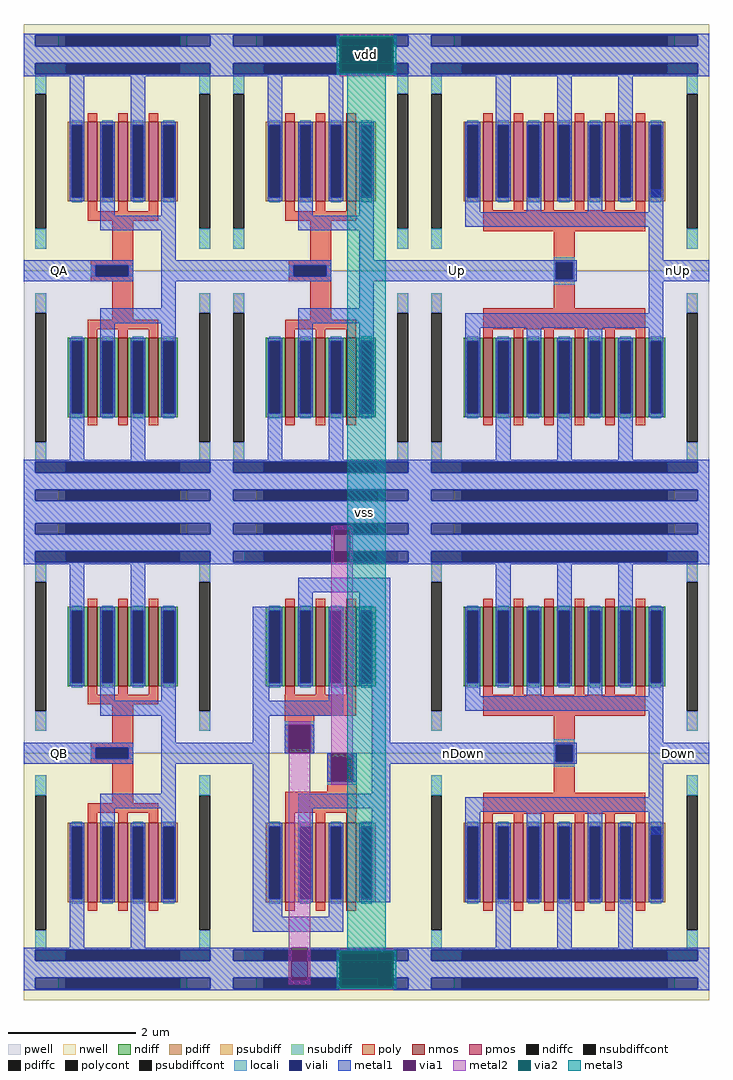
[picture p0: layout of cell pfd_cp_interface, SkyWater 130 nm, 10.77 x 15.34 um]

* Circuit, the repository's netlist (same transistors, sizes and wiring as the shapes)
**.subckt pfd_cp_interface vdd vss QA QB nDown Down nUp Up
*.iopin vdd
*.iopin vss
*.ipin QA
*.ipin QB
*.opin nDown
*.opin Down
*.opin nUp
*.opin Up
x5 vdd nDown nQB vss trans_gate
x3 vdd Up nQA vss inverter_cp_x1
x1 vdd nQB QB vss inverter_cp_x1
x2 vdd nQA QA vss inverter_cp_x1
x4 vdd nUp Up vss inverter_cp_x2
x6 vdd Down nDown vss inverter_cp_x2
**.ends

* expanding   symbol:  trans_gate.sym # of pins=4
* sym_path: /home/dhernando/caravel_analog_fulgor/xschem/trans_gate.sym
* sch_path: /home/dhernando/caravel_analog_fulgor/xschem/trans_gate.sch
.subckt trans_gate  vdd out in vss
*.iopin vss
*.ipin in
*.opin out
*.iopin vdd
XM2 out vss in vdd sky130_fd_pr__pfet_01v8 L=0.15 W=1.25 nf=1 ad='int((nf+1)/2) * W/nf * 0.29' as='int((nf+2)/2) * W/nf * 0.29'
+ pd='2*int((nf+1)/2) * (W/nf + 0.29)' ps='2*int((nf+2)/2) * (W/nf + 0.29)' nrd='0.29 / W' nrs='0.29 / W'
+ sa=0 sb=0 sd=0 mult=3 m=3 
XM1 out vdd in vss sky130_fd_pr__nfet_01v8 L=0.15 W=1.25 nf=1 ad='int((nf+1)/2) * W/nf * 0.29' as='int((nf+2)/2) * W/nf * 0.29'
+ pd='2*int((nf+1)/2) * (W/nf + 0.29)' ps='2*int((nf+2)/2) * (W/nf + 0.29)' nrd='0.29 / W' nrs='0.29 / W'
+ sa=0 sb=0 sd=0 mult=3 m=3 
.ends


* expanding   symbol:  inverter_cp_x1.sym # of pins=4
* sym_path: /home/dhernando/caravel_analog_fulgor/xschem/inverter_cp_x1.sym
* sch_path: /home/dhernando/caravel_analog_fulgor/xschem/inverter_cp_x1.sch
.subckt inverter_cp_x1  vdd out in vss
*.iopin vss
*.ipin in
*.opin out
*.iopin vdd
XM2 out in vdd vdd sky130_fd_pr__pfet_01v8 L=0.15 W=1.25 nf=1 ad='int((nf+1)/2) * W/nf * 0.29' as='int((nf+2)/2) * W/nf * 0.29'
+ pd='2*int((nf+1)/2) * (W/nf + 0.29)' ps='2*int((nf+2)/2) * (W/nf + 0.29)' nrd='0.29 / W' nrs='0.29 / W'
+ sa=0 sb=0 sd=0 mult=3 m=3 
XM1 out in vss vss sky130_fd_pr__nfet_01v8 L=0.15 W=1.25 nf=1 ad='int((nf+1)/2) * W/nf * 0.29' as='int((nf+2)/2) * W/nf * 0.29'
+ pd='2*int((nf+1)/2) * (W/nf + 0.29)' ps='2*int((nf+2)/2) * (W/nf + 0.29)' nrd='0.29 / W' nrs='0.29 / W'
+ sa=0 sb=0 sd=0 mult=3 m=3 
.ends


* expanding   symbol:  inverter_cp_x2.sym # of pins=4
* sym_path: /home/dhernando/caravel_analog_fulgor/xschem/inverter_cp_x2.sym
* sch_path: /home/dhernando/caravel_analog_fulgor/xschem/inverter_cp_x2.sch
.subckt inverter_cp_x2  vdd out in vss
*.iopin vss
*.ipin in
*.opin out
*.iopin vdd
XM2 out in vdd vdd sky130_fd_pr__pfet_01v8 L=0.15 W=1.25 nf=1 ad='int((nf+1)/2) * W/nf * 0.29' as='int((nf+2)/2) * W/nf * 0.29'
+ pd='2*int((nf+1)/2) * (W/nf + 0.29)' ps='2*int((nf+2)/2) * (W/nf + 0.29)' nrd='0.29 / W' nrs='0.29 / W'
+ sa=0 sb=0 sd=0 mult=6 m=6 
XM1 out in vss vss sky130_fd_pr__nfet_01v8 L=0.15 W=1.25 nf=1 ad='int((nf+1)/2) * W/nf * 0.29' as='int((nf+2)/2) * W/nf * 0.29'
+ pd='2*int((nf+1)/2) * (W/nf + 0.29)' ps='2*int((nf+2)/2) * (W/nf + 0.29)' nrd='0.29 / W' nrs='0.29 / W'
+ sa=0 sb=0 sd=0 mult=6 m=6 
.ends

** flattened .save nodes
.end

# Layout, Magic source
magic
tech sky130A
magscale 1 2
<< metal1 >>
rect 983 2998 993 3026
rect 0 2944 993 2998
rect 983 2914 993 2944
rect 1161 2998 1171 3026
rect 1161 2944 2154 2998
rect 1161 2914 1171 2944
rect 0 2259 226 2325
rect 442 2259 832 2325
rect 1054 2259 1672 2325
rect 1964 2259 2154 2325
rect 0 1564 2143 1570
rect 0 1504 2154 1564
rect 0 1498 2143 1504
rect 0 743 226 809
rect 478 742 720 809
rect 1094 743 1672 809
rect 1964 743 2154 809
rect 983 124 993 152
rect 0 108 993 124
rect 0 70 979 108
rect 983 40 993 108
rect 1161 124 1171 152
rect 1161 108 2154 124
rect 1161 40 1171 108
rect 1176 70 2154 108
<< via1 >>
rect 993 2914 1161 3026
rect 993 40 1161 152
<< metal2 >>
rect 993 3026 1161 3036
rect 993 2904 1161 2914
rect 993 152 1161 162
rect 993 30 1161 40
<< via2 >>
rect 993 2914 1161 3026
rect 993 40 1161 152
<< metal3 >>
rect 983 3026 1171 3031
rect 983 2914 993 3026
rect 1161 2914 1171 3026
rect 983 2909 1171 2914
rect 1017 157 1137 2909
rect 983 152 1171 157
rect 983 40 993 152
rect 1161 40 1171 152
rect 983 35 1171 40
use trans_gate  trans_gate_0
transform 1 0 675 0 -1 723
box -53 -811 569 723
use inverter_cp_x1  inverter_cp_x1_1
transform 1 0 0 0 1 2292
box 0 -758 622 776
use inverter_cp_x1  inverter_cp_x1_2
transform 1 0 622 0 1 2292
box 0 -758 622 776
use inverter_cp_x1  inverter_cp_x1_0
transform 1 0 0 0 -1 776
box 0 -758 622 776
use inverter_cp_x2  inverter_cp_x2_1
transform 1 0 1244 0 1 2292
box 0 -758 910 776
use inverter_cp_x2  inverter_cp_x2_0
transform 1 0 1244 0 -1 776
box 0 -758 910 776
<< labels >>
rlabel metal1 0 1498 2143 1570 1 vss
rlabel metal1 0 2259 226 2325 1 QA
rlabel metal1 0 743 226 809 1 QB
rlabel metal1 1054 2259 1672 2325 1 Up
rlabel metal1 1094 743 1672 809 1 nDown
rlabel metal1 1964 743 2154 809 1 Down
rlabel metal1 1964 2259 2154 2325 1 nUp
rlabel metal1 0 2944 2154 2998 1 vdd
<< end >>

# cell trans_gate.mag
magic
tech sky130A
magscale 1 2
<< nwell >>
rect -53 635 569 723
rect -53 -53 569 -47
<< pwell >>
rect -53 -64 569 -53
rect -53 -811 569 -723
<< psubdiff >>
rect 55 -775 79 -741
rect 437 -775 461 -741
<< nsubdiff >>
rect 55 653 79 687
rect 437 653 461 687
<< psubdiffcont >>
rect 79 -775 437 -741
<< nsubdiffcont >>
rect 79 653 437 687
<< poly >>
rect 147 69 371 135
rect 279 31 371 69
rect 279 -37 291 31
rect 359 -37 371 31
rect 279 -53 371 -37
rect 145 -69 237 -53
rect 145 -137 157 -69
rect 225 -137 237 -69
rect 145 -171 237 -137
rect 145 -237 369 -171
<< polycont >>
rect 291 -37 359 31
rect 157 -137 225 -69
<< locali >>
rect 279 31 371 47
rect 279 -37 291 31
rect 359 -37 371 31
rect 279 -53 371 -37
rect 145 -69 237 -53
rect 145 -137 157 -69
rect 225 -137 237 -69
rect 145 -153 237 -137
<< viali >>
rect -17 653 79 687
rect 79 653 437 687
rect 437 653 533 687
rect -17 565 533 599
rect 291 -37 359 31
rect 157 -137 225 -69
rect -17 -687 533 -653
rect -17 -775 79 -741
rect 79 -775 437 -741
rect 437 -775 533 -741
<< metal1 >>
rect -53 687 569 693
rect -53 653 -17 687
rect 533 653 569 687
rect -53 599 165 653
rect 217 599 569 653
rect -53 565 -17 599
rect 533 565 569 599
rect -53 559 165 565
rect 217 559 569 565
rect 45 462 329 508
rect 45 404 137 462
rect 283 404 329 462
rect 45 -171 97 404
rect 425 183 477 416
rect 187 120 233 178
rect 419 120 477 183
rect 187 74 477 120
rect 279 -53 291 37
rect 359 -53 371 37
rect 145 -143 157 -53
rect 225 -143 237 -53
rect 45 -217 329 -171
rect 45 -341 97 -217
rect 283 -263 329 -217
rect 45 -513 91 -341
rect 419 -343 477 74
rect 425 -455 477 -343
rect 419 -501 477 -455
rect 187 -559 233 -513
rect 379 -559 477 -501
rect 187 -605 477 -559
rect -53 -653 569 -647
rect -53 -687 -17 -653
rect 533 -687 569 -653
rect -53 -741 299 -687
rect 351 -741 569 -687
rect -53 -775 -17 -741
rect 533 -775 569 -741
rect -53 -781 569 -775
<< via1 >>
rect 165 653 217 663
rect 165 599 217 653
rect 165 565 217 599
rect 165 559 217 565
rect 291 31 359 37
rect 291 -37 359 31
rect 291 -53 359 -37
rect 157 -69 225 -53
rect 157 -137 225 -69
rect 157 -143 225 -137
rect 299 -687 351 -653
rect 299 -741 351 -687
rect 299 -757 351 -741
<< metal2 >>
rect 157 663 225 673
rect 157 559 165 663
rect 217 559 225 663
rect 157 -53 225 559
rect 157 -153 225 -143
rect 291 37 359 47
rect 291 -653 359 -53
rect 291 -757 299 -653
rect 351 -757 359 -653
rect 291 -766 359 -757
rect 299 -767 351 -766
use sky130_fd_pr__pfet_01v8_4798MH  sky130_fd_pr__pfet_01v8_4798MH_0
transform 1 0 258 0 1 291
box -311 -338 311 344
use sky130_fd_pr__nfet_01v8_BHR94T  sky130_fd_pr__nfet_01v8_BHR94T_0
transform 1 0 258 0 1 -388
box -311 -335 311 324
<< labels >>
rlabel metal1 217 599 569 653 1 vdd
rlabel metal1 -53 -741 299 -687 1 vss
rlabel space 419 -605 477 416 1 out
rlabel space 45 -513 97 508 1 in
<< end >>

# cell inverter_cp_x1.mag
magic
tech sky130A
magscale 1 2
<< nwell >>
rect 0 688 622 776
<< pwell >>
rect 2 -669 622 -626
rect 0 -721 622 -669
rect 2 -722 622 -721
rect 0 -758 622 -722
<< psubdiff >>
rect 108 -722 132 -688
rect 490 -722 514 -688
<< nsubdiff >>
rect 108 706 132 740
rect 490 706 514 740
<< psubdiffcont >>
rect 132 -722 490 -688
<< nsubdiffcont >>
rect 132 706 490 740
<< poly >>
rect 278 33 344 188
rect 210 17 344 33
rect 210 -17 226 17
rect 328 -17 344 17
rect 210 -33 344 -17
rect 278 -184 344 -33
<< polycont >>
rect 226 -17 328 17
<< locali >>
rect 210 -17 226 17
rect 328 -17 344 17
<< viali >>
rect 36 706 132 740
rect 132 706 490 740
rect 490 706 586 740
rect 36 618 586 652
rect 226 -17 328 17
rect 36 -634 586 -600
rect 36 -722 132 -688
rect 132 -722 490 -688
rect 490 -722 586 -688
<< metal1 >>
rect 0 740 622 746
rect 0 706 36 740
rect 586 706 622 740
rect 0 652 622 706
rect 0 618 36 652
rect 586 618 622 652
rect 0 612 622 618
rect 144 469 190 612
rect 336 469 382 612
rect 240 173 286 231
rect 432 173 478 222
rect 240 127 478 173
rect 210 17 344 33
rect 210 -17 226 17
rect 328 -17 344 17
rect 210 -33 344 -17
rect 432 -118 478 127
rect 240 -164 478 -118
rect 240 -210 286 -164
rect 432 -210 478 -164
rect 144 -594 190 -455
rect 336 -594 382 -451
rect 0 -600 622 -594
rect 0 -634 36 -600
rect 586 -634 622 -600
rect 0 -688 622 -634
rect 0 -722 36 -688
rect 586 -722 622 -688
rect 0 -728 622 -722
use sky130_fd_pr__pfet_01v8_7KT7MH  sky130_fd_pr__pfet_01v8_7KT7MH_0
transform 1 0 311 0 1 344
box -311 -344 311 344
use sky130_fd_pr__nfet_01v8_2BS6QM  sky130_fd_pr__nfet_01v8_2BS6QM_0
transform 1 0 311 0 1 -335
box -311 -335 311 335
<< labels >>
rlabel metal1 0 652 622 706 1 vdd
rlabel metal1 0 -688 622 -634 1 vss
rlabel metal1 210 -33 226 33 1 in
rlabel metal1 432 -210 478 222 1 out
<< end >>

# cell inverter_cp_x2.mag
magic
tech sky130A
magscale 1 2
<< nwell >>
rect 0 0 910 776
<< pwell >>
rect 0 -758 910 0
<< psubdiff >>
rect 108 -722 132 -688
rect 778 -722 802 -688
<< nsubdiff >>
rect 108 706 132 740
rect 778 706 802 740
<< psubdiffcont >>
rect 132 -722 778 -688
<< nsubdiffcont >>
rect 132 706 778 740
<< poly >>
rect 200 124 710 190
rect 422 27 488 124
rect 422 -27 432 27
rect 478 -27 488 27
rect 422 -118 488 -27
rect 200 -184 710 -118
<< polycont >>
rect 432 -27 478 27
<< locali >>
rect 422 27 488 43
rect 422 -27 428 27
rect 482 -27 488 27
rect 422 -43 488 -27
<< viali >>
rect 36 706 132 740
rect 132 706 778 740
rect 778 706 874 740
rect 36 618 874 652
rect 428 -27 432 27
rect 432 -27 478 27
rect 478 -27 482 27
rect 36 -634 874 -600
rect 36 -722 132 -688
rect 132 -722 778 -688
rect 778 -722 874 -688
<< metal1 >>
rect 0 740 910 746
rect 0 706 36 740
rect 874 706 910 740
rect 0 652 910 706
rect 0 618 36 652
rect 874 618 910 652
rect 0 612 910 618
rect 240 469 286 612
rect 432 468 478 612
rect 624 468 670 612
rect 144 185 190 231
rect 336 185 382 227
rect 528 185 574 224
rect 720 185 766 256
rect 144 139 766 185
rect 720 33 766 139
rect 0 27 494 33
rect 0 -27 428 27
rect 482 -27 494 27
rect 0 -33 494 -27
rect 720 -33 910 33
rect 720 -133 766 -33
rect 144 -179 766 -133
rect 144 -210 190 -179
rect 336 -222 382 -179
rect 528 -222 574 -179
rect 720 -214 766 -179
rect 240 -594 286 -458
rect 432 -594 478 -453
rect 624 -594 670 -450
rect 0 -600 910 -594
rect 0 -634 36 -600
rect 874 -634 910 -600
rect 0 -688 910 -634
rect 0 -722 36 -688
rect 874 -722 910 -688
rect 0 -728 910 -722
use sky130_fd_pr__pfet_01v8_XJXT7S  sky130_fd_pr__pfet_01v8_XJXT7S_0
transform 1 0 455 0 1 344
box -455 -344 455 344
use sky130_fd_pr__nfet_01v8_AZESM8  sky130_fd_pr__nfet_01v8_AZESM8_0
transform 1 0 455 0 1 -335
box -455 -335 455 335
<< labels >>
rlabel metal1 0 -33 428 33 1 in
rlabel metal1 720 -33 910 33 1 out
rlabel metal1 0 -688 910 -634 1 vss
rlabel metal1 0 652 910 706 1 vdd
<< end >>

# cell sky130_fd_pr__pfet_01v8_XJXT7S: kit device sky130_fd_pr__pfet_01v8, w 1.25 l 0.15 m 1 nf 6 diffcov 100 polycov 100 guard 1 glc 1 grc 1 gtc 1 gbc 1 tbcov 100 rlcov 100 topc 1 botc 1 poverlap 0 doverlap 1 lmin 0.15 wmin 0.42 compatible {sky130_fd_pr__pfet_01v8 sky130_fd_pr__pfet_01v8_lvt sky130_fd_pr__pfet_01v8_hvt sky130_fd_pr__pfet_g5v0d10v5} full_metal 1 viasrc 100 viadrn 100 viagate 100 viagb 0 viagr 0 viagl 0 viagt 0

# cell sky130_fd_pr__nfet_01v8_AZESM8: kit device sky130_fd_pr__nfet_01v8, w 1.25 l 0.150 m 1 nf 6 diffcov 100 polycov 100 guard 1 glc 1 grc 1 gtc 1 gbc 1 tbcov 100 rlcov 100 topc 1 botc 1 poverlap 0 doverlap 1 lmin 0.15 wmin 0.42 compatible {sky130_fd_pr__nfet_01v8 sky130_fd_pr__nfet_01v8_lvt sky130_fd_bs_flash__special_sonosfet_star sky130_fd_pr__nfet_g5v0d10v5 sky130_fd_pr__nfet_05v0_nvt sky130_fd_pr__nfet_03v3_nvt} full_metal 1 viasrc 100 viadrn 100 viagate 100 viagb 0 viagr 0 viagl 0 viagt 0

# cell sky130_fd_pr__pfet_01v8_7KT7MH: kit device sky130_fd_pr__pfet_01v8, w 1.25 l 0.15 m 1 nf 3 diffcov 100 polycov 100 guard 1 glc 1 grc 1 gtc 1 gbc 0 tbcov 100 rlcov 100 topc 0 botc 1 poverlap 0 doverlap 1 lmin 0.15 wmin 0.42 compatible {sky130_fd_pr__pfet_01v8 sky130_fd_pr__pfet_01v8_lvt sky130_fd_pr__pfet_01v8_hvt sky130_fd_pr__pfet_g5v0d10v5} full_metal 1 viasrc 100 viadrn 100 viagate 100 viagb 0 viagr 0 viagl 0 viagt 0

# cell sky130_fd_pr__nfet_01v8_2BS6QM: kit device sky130_fd_pr__nfet_01v8, w 1.25 l 0.150 m 1 nf 3 diffcov 100 polycov 100 guard 1 glc 1 grc 1 gtc 0 gbc 1 tbcov 100 rlcov 100 topc 1 botc 0 poverlap 0 doverlap 1 lmin 0.15 wmin 0.42 compatible {sky130_fd_pr__nfet_01v8 sky130_fd_pr__nfet_01v8_lvt sky130_fd_bs_flash__special_sonosfet_star sky130_fd_pr__nfet_g5v0d10v5 sky130_fd_pr__nfet_05v0_nvt sky130_fd_pr__nfet_03v3_nvt} full_metal 1 viasrc 100 viadrn 100 viagate 100 viagb 0 viagr 0 viagl 0 viagt 0

# cell sky130_fd_pr__pfet_01v8_4798MH: kit device sky130_fd_pr__pfet_01v8, w 1.25 l 0.15 m 1 nf 3 diffcov 100 polycov 100 guard 1 glc 1 grc 1 gtc 1 gbc 0 tbcov 100 rlcov 100 topc 1 botc 1 poverlap 0 doverlap 1 lmin 0.15 wmin 0.42 compatible {sky130_fd_pr__pfet_01v8 sky130_fd_pr__pfet_01v8_lvt sky130_fd_pr__pfet_01v8_hvt sky130_fd_pr__pfet_g5v0d10v5} full_metal 1 viasrc 100 viadrn 100 viagate 100 viagb 0 viagr 0 viagl 0 viagt 0

# cell sky130_fd_pr__nfet_01v8_BHR94T: kit device sky130_fd_pr__nfet_01v8, w 1.25 l 0.150 m 1 nf 3 diffcov 100 polycov 100 guard 1 glc 1 grc 1 gtc 1 gbc 1 tbcov 100 rlcov 100 topc 1 botc 1 poverlap 0 doverlap 1 lmin 0.15 wmin 0.42 compatible {sky130_fd_pr__nfet_01v8 sky130_fd_pr__nfet_01v8_lvt sky130_fd_bs_flash__special_sonosfet_star sky130_fd_pr__nfet_g5v0d10v5 sky130_fd_pr__nfet_05v0_nvt sky130_fd_pr__nfet_03v3_nvt} full_metal 1 viasrc 100 viadrn 100 viagate 100 viagb 0 viagr 0 viagl 0 viagt 0
